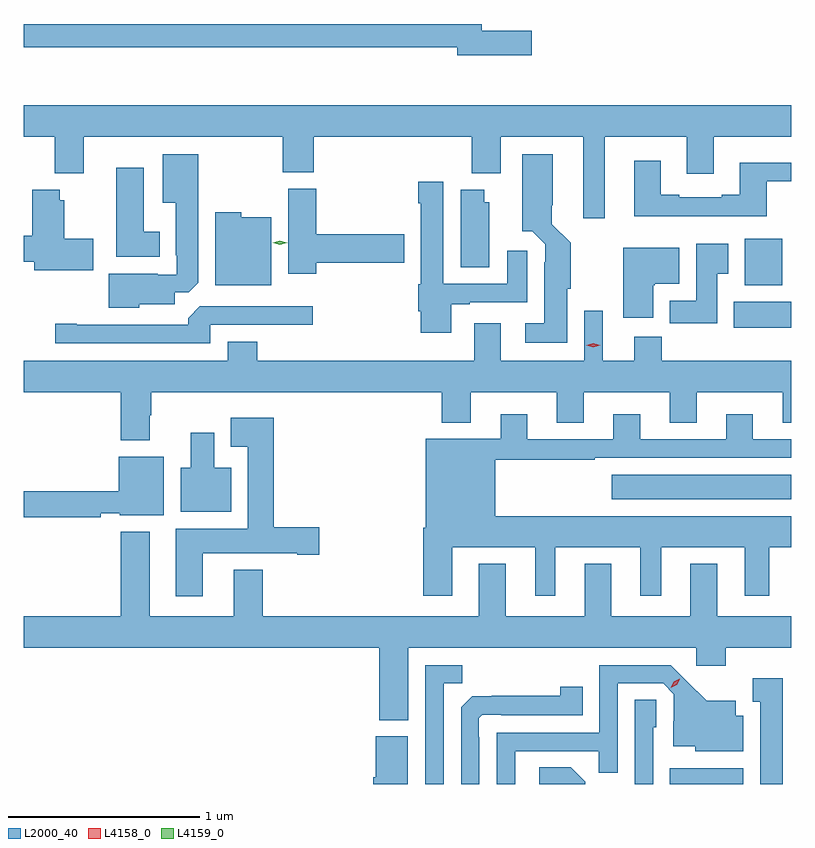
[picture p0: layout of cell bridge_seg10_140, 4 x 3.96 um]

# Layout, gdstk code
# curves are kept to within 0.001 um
import gdstk
lib = gdstk.Library(unit=1e-6, precision=1e-09)
def R(c, l, rs):  # rectangles x0, y0, x1, y1
    for r in rs: c.add(gdstk.rectangle(r[:2], r[2:], *l))
def P(c, l, *ps):  # polygons
    for p in ps: c.add(gdstk.Polygon(p, *l))
L2000_40 = (2000, 40)
L4158_0 = (4158, 0)
L4159_0 = (4159, 0)

bridge_seg10_140 = lib.new_cell('bridge_seg10_140')
R(bridge_seg10_140, L2000_40, [(339.388,1256.981,339.772,1257.064), (339.087,1258.466,340.022,1258.594), (339.722,1259.36,340.022,1259.494), (339.779,1259.582,339.976,1259.824)])
P(bridge_seg10_140, L2000_40, [(338.671,1260.909),(338.41,1260.909),(338.41,1260.943),(336.022,1260.943),(336.022,1260.822),(338.282,1260.822),(338.282,1260.779),(338.671,1260.779)],
  [(339.049,1260.356),(339.479,1260.356),(339.479,1260.162),(339.619,1260.162),(339.619,1260.356),(340.022,1260.356),(340.022,1260.52),(336.022,1260.52),(336.022,1260.356),(336.182,1260.356),(336.182,1260.164),(336.334,1260.164),(336.334,1260.356),(337.372,1260.356),(337.372,1260.169),(337.532,1260.169),(337.532,1260.356),(338.357,1260.356),(338.357,1260.164),(338.509,1260.164),(338.509,1260.356),(338.939,1260.356),(338.939,1259.931),(339.049,1259.931)],
  [(336.624,1259.483),(336.808,1259.483),(336.808,1259.544),(336.882,1259.544),(336.931,1259.593),(336.931,1260.265),(336.746,1260.265),(336.746,1260.011),(336.815,1260.011),(336.815,1259.737),(336.819,1259.737),(336.819,1259.637),(336.719,1259.637),(336.719,1259.641),(336.464,1259.641),(336.464,1259.465),(336.624,1259.465)],
  [(338.854,1259.562),(338.872,1259.562),(338.872,1259.803),(338.775,1259.9),(338.775,1259.998),(338.779,1259.998),(338.779,1260.265),(338.621,1260.265),(338.621,1259.862),(338.673,1259.862),(338.739,1259.796),(338.739,1259.702),(338.735,1259.702),(338.735,1259.383),(338.637,1259.383),(338.637,1259.282),(338.854,1259.282)],
  [(339.895,1260.123),(340.022,1260.123),(340.022,1260.22),(339.755,1260.22),(339.755,1260.052),(339.659,1260.052),(339.659,1260.039),(339.439,1260.039),(339.439,1260.052),(339.343,1260.052),(339.343,1260.229),(339.203,1260.229),(339.203,1259.942),(339.895,1259.942)],
  [(336.73,1259.86),(336.646,1259.86),(336.646,1260.193),(336.503,1260.193),(336.503,1259.729),(336.73,1259.729)],
  [(338.251,1259.481),(338.347,1259.481),(338.347,1259.493),(338.647,1259.493),(338.647,1259.761),(338.543,1259.761),(338.543,1259.589),(338.209,1259.589),(338.209,1260.121),(338.078,1260.121),(338.078,1260.008),(338.09,1260.008),(338.09,1259.586),(338.078,1259.586),(338.078,1259.446),(338.09,1259.446),(338.09,1259.334),(338.251,1259.334)],
  [(337.547,1259.699),(338.005,1259.699),(338.005,1259.846),(337.547,1259.846),(337.547,1260.084),(337.4,1260.084),(337.4,1259.64),(337.547,1259.64)],
  [(338.449,1260.015),(338.422,1260.015),(338.422,1260.079),(338.3,1260.079),(338.3,1259.674),(338.449,1259.674)],
  [(336.385,1259.823),(336.232,1259.823),(336.232,1260.025),(336.21,1260.025),(336.21,1260.079),(336.065,1260.079),(336.065,1259.84),(336.022,1259.84),(336.022,1259.704),(336.077,1259.704),(336.077,1259.66),(336.385,1259.66)],
  [(337.312,1259.935),(337.155,1259.935),(337.155,1259.962),(337.019,1259.962),(337.019,1259.582),(337.312,1259.582)],
  [(339.637,1259.641),(339.694,1259.641),(339.694,1259.797),(339.527,1259.797),(339.527,1259.5),(339.389,1259.5),(339.389,1259.382),(339.637,1259.382)],
  [(339.304,1259.582),(339.31,1259.582),(339.31,1259.588),(339.439,1259.588),(339.439,1259.776),(339.146,1259.776),(339.146,1259.412),(339.304,1259.412)],
  [(336.993,1259.376),(337.528,1259.376),(337.528,1259.472),(336.939,1259.472),(336.878,1259.41),(336.878,1259.376),(336.298,1259.376),(336.298,1259.381),(336.186,1259.381),(336.186,1259.28),(336.993,1259.28)],
  [(336.679,1258.904),(336.687,1258.904),(336.687,1259.024),(338.201,1259.024),(338.201,1258.865),(338.353,1258.865),(338.353,1259.024),(338.801,1259.024),(338.801,1258.864),(338.941,1258.864),(338.941,1259.024),(339.389,1259.024),(339.389,1258.864),(339.529,1258.864),(339.529,1259.024),(339.977,1259.024),(339.977,1258.864),(340.022,1258.864),(340.022,1259.188),(339.347,1259.188),(339.347,1259.312),(339.203,1259.312),(339.203,1259.188),(339.04,1259.188),(339.04,1259.449),(338.943,1259.449),(338.943,1259.188),(338.509,1259.188),(338.509,1259.383),(338.369,1259.383),(338.369,1259.188),(337.238,1259.188),(337.238,1259.287),(337.085,1259.287),(337.085,1259.188),(336.022,1259.188),(336.022,1259.024),(336.527,1259.024),(336.527,1258.772),(336.679,1258.772)],
  [(338.254,1258.214),(338.687,1258.214),(338.687,1257.963),(338.791,1257.963),(338.791,1258.214),(339.236,1258.214),(339.236,1257.963),(339.346,1257.963),(339.346,1258.214),(339.779,1258.214),(339.779,1257.963),(339.907,1257.963),(339.907,1258.214),(340.022,1258.214),(340.022,1258.378),(338.479,1258.378),(338.479,1258.671),(338.999,1258.671),(338.999,1258.683),(340.022,1258.683),(340.022,1258.779),(339.823,1258.779),(339.823,1258.909),(339.683,1258.909),(339.683,1258.779),(339.235,1258.779),(339.235,1258.909),(339.095,1258.909),(339.095,1258.779),(338.647,1258.779),(338.647,1258.909),(338.507,1258.909),(338.507,1258.78),(338.117,1258.78),(338.117,1258.318),(338.105,1258.318),(338.105,1257.963),(338.254,1257.963)],
  [(336.955,1258.184),(337.448,1258.184),(337.448,1258.177),(337.561,1258.177),(337.561,1258.319),(337.325,1258.319),(337.325,1258.891),(337.1,1258.891),(337.1,1258.739),(337.19,1258.739),(337.19,1258.312),(336.815,1258.312),(336.815,1257.96),(336.955,1257.96)],
  [(337.102,1258.63),(337.015,1258.63),(337.015,1258.813),(336.893,1258.813),(336.893,1258.63),(336.839,1258.63),(336.839,1258.4),(337.102,1258.4)],
  [(336.422,1258.392),(336.522,1258.392),(336.522,1258.382),(336.751,1258.382),(336.751,1258.687),(336.518,1258.687),(336.518,1258.508),(336.022,1258.508),(336.022,1258.372),(336.422,1258.372)],
  [(338.026,1257.692),(339.528,1257.692),(339.528,1257.597),(339.68,1257.597),(339.68,1257.692),(340.022,1257.692),(340.022,1257.856),(339.637,1257.856),(339.637,1258.129),(339.497,1258.129),(339.497,1257.856),(339.085,1257.856),(339.085,1258.129),(338.945,1258.129),(338.945,1257.856),(338.533,1257.856),(338.533,1258.129),(338.393,1258.129),(338.393,1257.856),(337.268,1257.856),(337.268,1258.099),(337.115,1258.099),(337.115,1257.856),(336.679,1257.856),(336.679,1258.297),(336.527,1258.297),(336.527,1257.856),(336.022,1257.856),(336.022,1257.692),(337.874,1257.692),(337.874,1257.314),(338.026,1257.314)],
  [(338.211,1257.505),(338.307,1257.505),(338.307,1257.6),(338.115,1257.6),(338.115,1256.981),(338.211,1256.981)],
  [(338.583,1257.153),(339.019,1257.153),(339.019,1257.04),(339.117,1257.04),(339.117,1257.507),(339.354,1257.507),(339.411,1257.45),(339.411,1257.308),(339.407,1257.308),(339.407,1257.179),(339.522,1257.179),(339.522,1257.152),(339.772,1257.152),(339.772,1257.337),(339.733,1257.337),(339.733,1257.415),(339.581,1257.415),(339.394,1257.6),(339.021,1257.6),(339.021,1257.249),(338.487,1257.249),(338.487,1256.981),(338.583,1256.981)],
  [(339.979,1257.532),(339.821,1257.532),(339.821,1257.411),(339.86,1257.411),(339.86,1256.981),(339.979,1256.981)],
  [(338.397,1257.224),(338.394,1257.224),(338.394,1257.324),(338.412,1257.342),(338.512,1257.342),(338.512,1257.339),(338.936,1257.339),(338.936,1257.487),(338.818,1257.487),(338.818,1257.44),(338.36,1257.439),(338.301,1257.38),(338.301,1256.981),(338.397,1256.981)],
  [(339.303,1257.276),(339.318,1257.276),(339.318,1257.419),(339.207,1257.419),(339.207,1256.981),(339.303,1256.981)],
  [(338.023,1257.229),(337.856,1257.229),(337.856,1257.015),(337.844,1257.015),(337.844,1256.981),(338.023,1256.981)],
  [(338.949,1256.992),(338.873,1257.068),(338.709,1257.068),(338.709,1256.981),(338.949,1256.981)])
P(bridge_seg10_140, L4158_0, [(339.394,1257.484),(339.394,1257.484),(339.411,1257.513),(339.442,1257.529),(339.442,1257.529),(339.442,1257.528),(339.425,1257.499),(339.394,1257.484)],
  [(338.991,1259.258),(338.955,1259.268),(338.955,1259.268),(338.955,1259.268),(338.991,1259.278),(339.026,1259.268),(339.026,1259.268),(339.026,1259.268)])
P(bridge_seg10_140, L4159_0, [(337.357,1259.792),(337.319,1259.802),(337.319,1259.802),(337.319,1259.802),(337.357,1259.812),(337.395,1259.802),(337.395,1259.802),(337.395,1259.802)])

lib.write_gds('bridge_seg10_140.gds')
